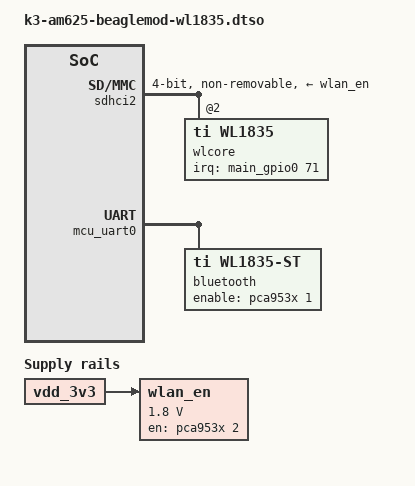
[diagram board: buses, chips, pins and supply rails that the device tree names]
// SPDX-License-Identifier: GPL-2.0
/*
 * Copyright (C) 2022 Texas Instruments Incorporated - https://www.ti.com/
 */

/dts-v1/;
/plugin/;

#include "k3-pinctrl.h"
#include <dt-bindings/gpio/gpio.h>
#include <dt-bindings/interrupt-controller/irq.h>

/*
 * Helper to show loaded overlays under: /proc/device-tree/chosen/overlays/
 */
&{/chosen} {
	overlays {
		k3-am625-beaglemod-wl1835.kernel = __TIMESTAMP__;
	};
};

&{/} {
	wlan_en: regulator-3 {
		/* OUTPUT of SN74AVC2T244DQMR */
		compatible = "regulator-fixed";
		regulator-name = "wlan_en";
		regulator-min-microvolt = <1800000>;
		regulator-max-microvolt = <1800000>;
		enable-active-high;
		regulator-always-on;
		vin-supply = <&vdd_3v3>;
		gpio = <&pca953x 2 GPIO_ACTIVE_HIGH>;
	};
};

&main_pmx0 {
	wifi_pins_default: wifi-pins-default {
		pinctrl-single,pins = <
			AM62X_IOPAD(0x0120, PIN_INPUT, 0) /* (C24) MMC2_CMD */
			AM62X_IOPAD(0x0118, PIN_INPUT, 0) /* (D25) MMC2_CLK */
			AM62X_IOPAD(0x0114, PIN_INPUT, 0) /* (B24) MMC2_DAT0 */
			AM62X_IOPAD(0x0110, PIN_INPUT, 0) /* (C25) MMC2_DAT1 */
			AM62X_IOPAD(0x010c, PIN_INPUT, 0) /* (E23) MMC2_DAT2 */
			AM62X_IOPAD(0x0108, PIN_INPUT, 0) /* (D24) MMC2_DAT3 */
			AM62X_IOPAD(0x11c, PIN_INPUT, 0) /* (#N/A) MMC2_CLKB */
		>;
	};

	wifi_wlirq_pins_default: wifi-wlirq-pins-default {
		pinctrl-single,pins = <
			AM62X_IOPAD(0x0124, PIN_INPUT, 7) /* (A23) MMC2_SDCD.GPIO0_71 */
		>;
	};
};

&mcu_pmx0 {
	mcu_bt_uart_pins_default: mcu-bt-uart-pins-default {
		pinctrl-single,pins = <
			AM62X_MCU_IOPAD(0x001c, PIN_INPUT, 0) /* (A6) MCU_UART0_CTSn */
			AM62X_MCU_IOPAD(0x0020, PIN_OUTPUT, 0) /* (B6) MCU_UART0_RTSn */
			AM62X_MCU_IOPAD(0x0014, PIN_INPUT, 0) /* (B5) MCU_UART0_RXD */
			AM62X_MCU_IOPAD(0x0018, PIN_OUTPUT, 0) /* (A5) MCU_UART0_TXD */
		>;
	};
};

&sdhci2 {
	vmmc-supply = <&wlan_en>;
	pinctrl-names = "default";
	pinctrl-0 = <&wifi_pins_default>;
	bus-width = <4>;
	non-removable;
	ti,fails-without-test-cd;
	cap-power-off-card;
	keep-power-in-suspend;
	ti,driver-strength-ohm = <50>;
	assigned-clocks = <&k3_clks 157 158>;
	assigned-clock-parents = <&k3_clks 157 160>;
	#address-cells = <1>;
	#size-cells = <0>;
	status = "okay";

	wlcore: wlcore@2 {
		compatible = "ti,wl1835";
		reg = <2>;
		pinctrl-names = "default";
		pinctrl-0 = <&wifi_wlirq_pins_default>;
		interrupt-parent = <&main_gpio0>;
		interrupts = <71 IRQ_TYPE_EDGE_FALLING>;
	};
};

&mcu_uart0 {
	pinctrl-names = "default";
	pinctrl-0 = <&mcu_bt_uart_pins_default>;
	status = "okay";
	bluetooth {
             compatible = "ti,wl1835-st";
             enable-gpios = <&pca953x 1 GPIO_ACTIVE_HIGH>;
	};
};
